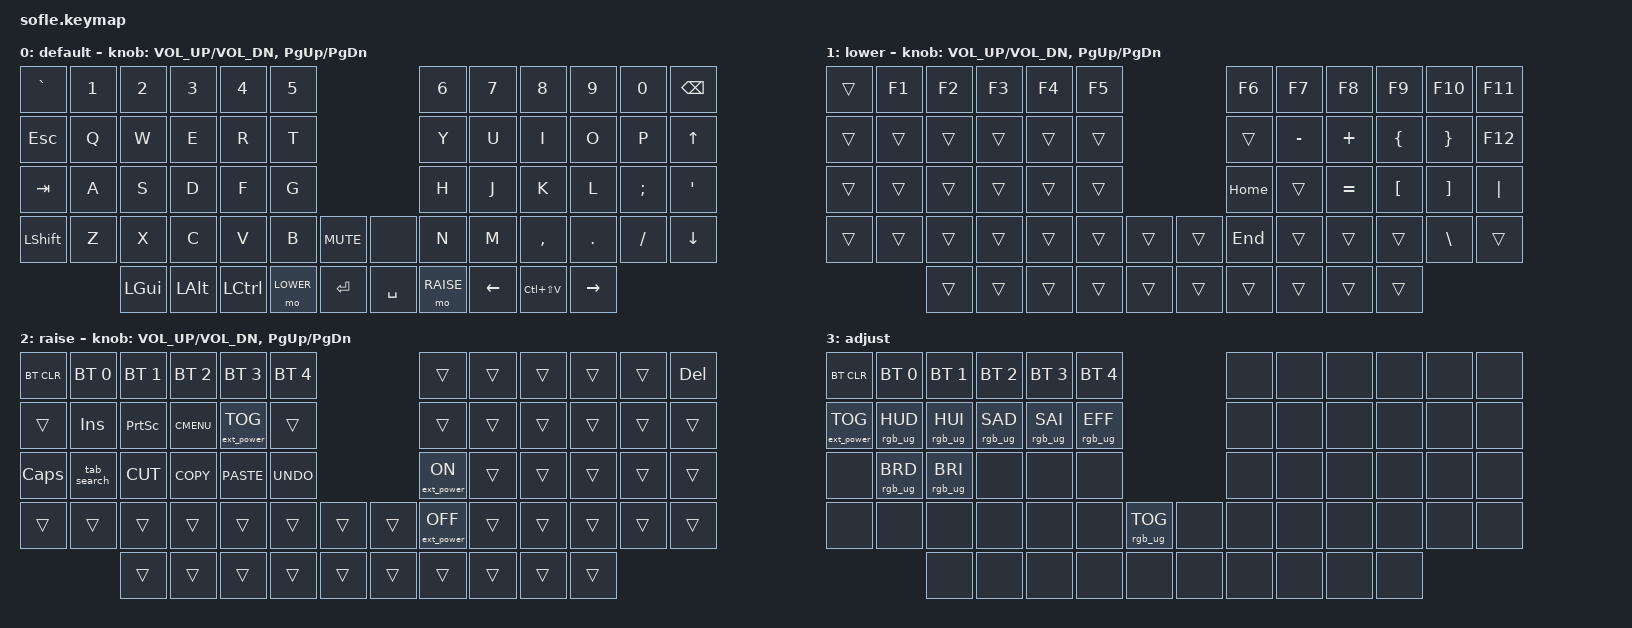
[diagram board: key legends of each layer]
/*
 * Copyright (c) 2020 The ZMK Contributors
 *
 * SPDX-License-Identifier: MIT
 */

#include <behaviors.dtsi>
#include <dt-bindings/zmk/bt.h>
#include <dt-bindings/zmk/ext_power.h>
#include <dt-bindings/zmk/keys.h>
#include <dt-bindings/zmk/rgb.h>

#define BASE 0
#define LOWER 1
#define RAISE 2
#define ADJUST 3

/ {
    // Activate ADJUST layer by pressing raise and lower

    conditional_layers {
        compatible = "zmk,conditional-layers";

        adjust_layer {
            if-layers = <LOWER RAISE>;
            then-layer = <ADJUST>;
        };
    };

    macros {
        tab_search: tab_search {
            compatible = "zmk,behavior-macro";
            #binding-cells = <0>;
            bindings = <&kp LC(L) &kp PERCENT>;
            label = "TAB_SEARCH";
        };
    };

    keymap {
        compatible = "zmk,keymap";

        default_layer {
            label = "default";

            // ------------------------------------------------------------------------------------------------------------
            // |   `   |  1  |  2  |  3   |  4   |  5   |                   |  6   |  7    |  8    |  9   |   0   |       |
            // |  ESC  |  Q  |  W  |  E   |  R   |  T   |                   |  Y   |  U    |  I    |  O   |   P   | BKSPC |
            // |  TAB  |  A  |  S  |  D   |  F   |  G   |                   |  H   |  J    |  K    |  L   |   ;   |   '   |
            // | SHIFT |  Z  |  X  |  C   |  V   |  B   |  MUTE  |  |       |  N   |  M    |  ,    |  .   |   /   | SHIFT |
            //               | GUI | ALT  | CTRL | LOWER|  ENTER |  | SPACE | RAISE| CTRL  | ALT   | GUI  |

            bindings = <
&kp GRAVE  &kp N1  &kp N2    &kp N3    &kp N4     &kp N5                              &kp N6     &kp N7    &kp N8         &kp N9     &kp N0    &kp BACKSPACE
&kp ESC    &kp Q   &kp W     &kp E     &kp R      &kp T                               &kp Y      &kp U     &kp I          &kp O      &kp P     &kp UP
&kp TAB    &kp A   &kp S     &kp D     &kp F      &kp G                               &kp H      &kp J     &kp K          &kp L      &kp SEMI  &kp SQT
&kp LSHFT  &kp Z   &kp X     &kp C     &kp V      &kp B      &kp C_MUTE    &none      &kp N      &kp M     &kp COMMA      &kp DOT    &kp FSLH  &kp DOWN
                   &kp LGUI  &kp LALT  &kp LCTRL  &mo LOWER  &kp RET       &kp SPACE  &mo RAISE  &kp LEFT  &kp LC(LS(V))  &kp RIGHT
            >;

            sensor-bindings = <&inc_dec_kp C_VOL_UP C_VOL_DN &inc_dec_kp PG_UP PG_DN>;
        };

        lower_layer {
            label = "lower";

            // TODO: Some binds are waiting for shifted keycode support.
            // ------------------------------------------------------------------------------------------------------------
            // |       |  F1 |  F2 |  F3  |  F4  |  F5  |                   |  F6  |  F7   |  F8   |  F9  |  F10  |  F11  |
            // |   `   |  1  |  2  |  3   |  4   |  5   |                   |  6   |  7    |  8    |  9   |   0   |  F12  |
            // |       |  !  |  @  |  #   |  $   |  %   |                   |  ^   |  &    |  *    |  (   |   )   |   |   |
            // |       |  =  |  -  |  +   |  {   |  }   |        |  |       |  [   |  ]    |  ;    |  :   |   \   |       |
            //               |     |      |      |      |        |  |       |      |       |       |      |

            bindings = <
&trans  &kp F1  &kp F2  &kp F3  &kp F4  &kp F5                    &kp F6    &kp F7     &kp F8     &kp F9            &kp F10            &kp F11
&trans  &trans  &trans  &trans  &trans  &trans                    &trans    &kp MINUS  &kp PLUS   &kp LEFT_BRACE    &kp RIGHT_BRACE    &kp F12
&trans  &trans  &trans  &trans  &trans  &trans                    &kp HOME  &trans     &kp EQUAL  &kp LEFT_BRACKET  &kp RIGHT_BRACKET  &kp PIPE
&trans  &trans  &trans  &trans  &trans  &trans  &trans    &trans  &kp END   &trans     &trans     &trans            &kp BSLH           &trans
                &trans  &trans  &trans  &trans  &trans    &trans  &trans    &trans     &trans     &trans
            >;

            sensor-bindings = <&inc_dec_kp C_VOL_UP C_VOL_DN &inc_dec_kp PG_UP PG_DN>;
        };

        raise_layer {
            label = "raise";

            // ------------------------------------------------------------------------------------------------------------
            // | BTCLR | BT1  | BT2  |  BT3  |  BT4  |  BT5 |                |      |      |       |      |       |       |
            // |       | INS  | PSCR | GUI   |       |      |                | PGUP |      |   ^   |      |       |       |
            // |       | ALT  | CTRL | SHIFT |       | CAPS |                | PGDN |   <- |   v   |  ->  |  DEL  | BKSPC |
            // |       | UNDO | CUT  | COPY  | PASTE |      |      |  |      |      |      |       |      |       |       |
            //                |      |       |       |      |      |  |      |      |      |       |      |

            bindings = <
&bt BT_CLR  &bt BT_SEL 0  &bt BT_SEL 1  &bt BT_SEL 2  &bt BT_SEL 3       &bt BT_SEL 4                    &trans             &trans  &trans  &trans  &trans  &kp DELETE
&trans      &kp INS       &kp PSCRN     &kp K_CMENU   &ext_power EP_TOG  &trans                          &trans             &trans  &trans  &trans  &trans  &trans
&kp CLCK    &tab_search   &kp K_CUT     &kp K_COPY    &kp K_PASTE        &kp K_UNDO                      &ext_power EP_ON   &trans  &trans  &trans  &trans  &trans
&trans      &trans        &trans        &trans        &trans             &trans        &trans    &trans  &ext_power EP_OFF  &trans  &trans  &trans  &trans  &trans
                          &trans        &trans        &trans             &trans        &trans    &trans  &trans             &trans  &trans  &trans
            >;

            sensor-bindings = <&inc_dec_kp C_VOL_UP C_VOL_DN &inc_dec_kp PG_UP PG_DN>;
        };

        adjust_layer {
            // ----------------------------------------------------------------------------------------------------------------------------
            // | BTCLR  |  BT1    |  BT2    |   BT3   |   BT4   |   BT5   |                  |      |      |       |      |       |       |
            // | EXTPWR | RGB_HUD | RGB_HUI | RGB_SAD | RGB_SAI | RGB_EFF |                  |      |      |       |      |       |       |
            // |        | RGB_BRD | RGB_BRI |         |         |         |                  |      |      |       |      |       |       |
            // |        |         |         |         |         |         | RGB_TOG | |      |      |      |       |      |       |       |
            //                    |         |         |         |         |         | |      |      |      |       |      |

            label = "adjust";
            bindings = <
&bt BT_CLR         &bt BT_SEL 0     &bt BT_SEL 1     &bt BT_SEL 2     &bt BT_SEL 3     &bt BT_SEL 4                               &none  &none  &none  &none  &none  &none
&ext_power EP_TOG  &rgb_ug RGB_HUD  &rgb_ug RGB_HUI  &rgb_ug RGB_SAD  &rgb_ug RGB_SAI  &rgb_ug RGB_EFF                            &none  &none  &none  &none  &none  &none
&none              &rgb_ug RGB_BRD  &rgb_ug RGB_BRI  &none            &none            &none                                      &none  &none  &none  &none  &none  &none
&none              &none            &none            &none            &none            &none            &rgb_ug RGB_TOG    &none  &none  &none  &none  &none  &none  &none
                                    &none            &none            &none            &none            &none              &none  &none  &none  &none  &none
            >;
        };
    };
};
